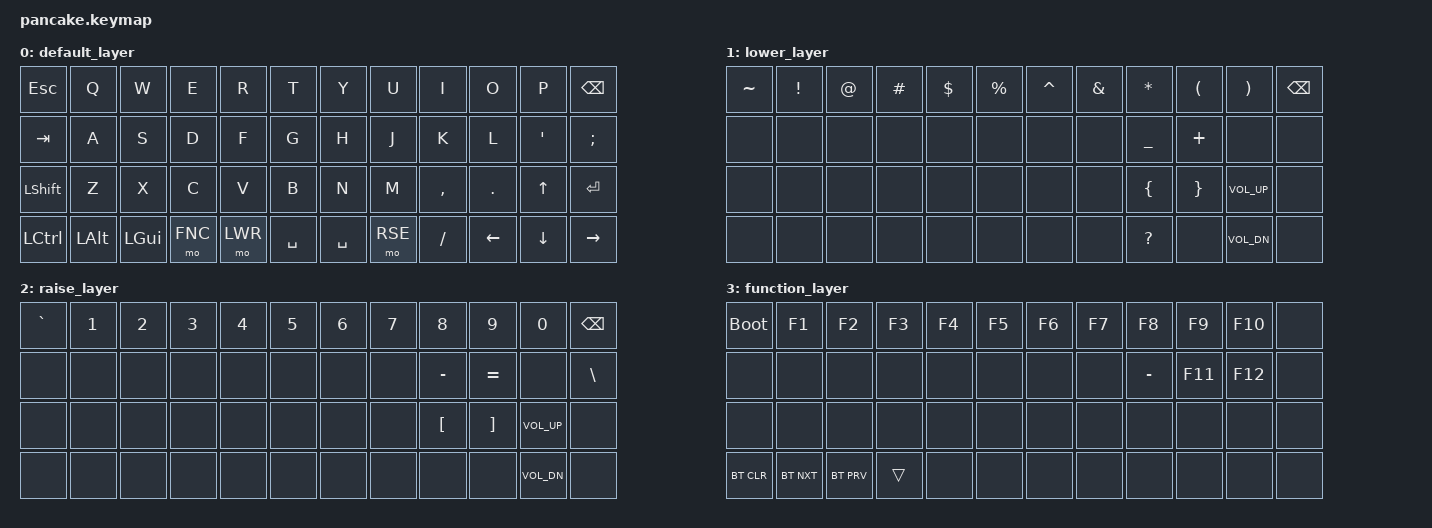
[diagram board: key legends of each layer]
/*
 * Copyright (c) 2022 The ZMK Contributors
 *
 * SPDX-License-Identifier: MIT
 */

#include <behaviors.dtsi>
#include <dt-bindings/zmk/keys.h>
#include <dt-bindings/zmk/bt.h>

#define DEF 0
#define LWR 1
#define RSE 2
#define FNC 3

/ {
    keymap {
        compatible = "zmk,keymap";

        default_layer {
            bindings = <
                &kp ESC     &kp Q       &kp W       &kp E       &kp R       &kp T       &kp Y       &kp U       &kp I     &kp O     &kp P       &kp BSPC  
                &kp TAB     &kp A       &kp S       &kp D       &kp F       &kp G       &kp H       &kp J       &kp K     &kp L     &kp SQT     &kp SEMI
                &kp LSHFT   &kp Z       &kp X       &kp C       &kp V       &kp B       &kp N       &kp M       &kp COMMA &kp DOT   &kp UP      &kp ENTER
                &kp LCTRL   &kp LALT    &kp LGUI    &mo FNC     &mo LWR     &kp SPACE   &kp SPACE   &mo RSE     &kp SLASH   &kp LEFT  &kp DOWN  &kp RIGHT
            >;
        };

        lower_layer {
            bindings = <
                &kp TILDE   &kp EXCL    &kp AT      &kp HASH    &kp DLLR    &kp PRCNT   &kp CARET   &kp AMPS    &kp STAR    &kp LPAR    &kp RPAR        &kp BSPC
                &none         &none         &none         &none         &none         &none         &none         &none         &kp UNDER   &kp PLUS    &none             &none
                &none         &none         &none         &none         &none         &none         &none         &none         &kp LBRC    &kp RBRC    &kp C_VOL_UP    &none
                &none         &none         &none         &none         &none         &none         &none         &none         &kp QMARK   &none         &kp C_VOL_DN    &none                    
            >;
        };

        raise_layer {
            bindings = <
                &kp GRAVE   &kp N1      &kp N2      &kp N3      &kp N4      &kp N5      &kp N6      &kp N7      &kp N8      &kp N9      &kp N0          &kp BSPC
                &none         &none         &none         &none         &none         &none         &none         &none         &kp MINUS   &kp EQUAL   &none             &kp BSLH
                &none         &none         &none         &none         &none         &none         &none         &none         &kp LBKT    &kp RBKT    &kp C_VOL_UP    &none
                &none         &none         &none         &none         &none         &none         &none         &none         &none         &none         &kp C_VOL_DN    &none                    
            >;            
        };

        function_layer {
            bindings = <
                &bootloader &kp F1      &kp F2      &kp F3      &kp F4      &kp F5      &kp F6      &kp F7      &kp F8      &kp F9      &kp F10         &none
                &none       &none         &none         &none         &none         &none         &none         &none         &kp MINUS   &kp F11     &kp F12         &none
                &none       &none         &none         &none         &none         &none         &none         &none         &none         &none         &none             &none
                &bt BT_CLR  &bt BT_NXT &bt BT_PRV         &trans         &none         &none         &none         &none         &none         &none         &none             &none                    
            >;         
        };
    };
};
